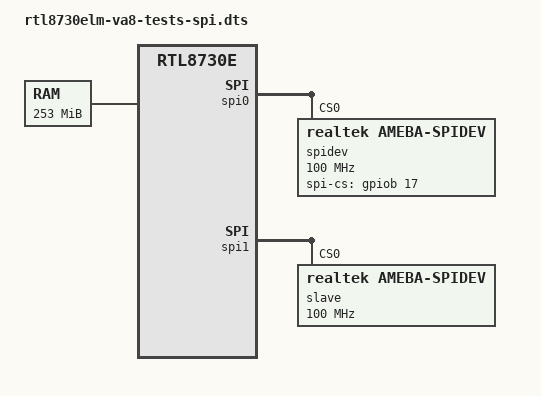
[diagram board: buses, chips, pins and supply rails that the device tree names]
// SPDX-License-Identifier: GPL-2.0-only
/*
* Realtek DTS for SPI test
*
* Copyright (C) 2023, Realtek Corporation. All rights reserved.
*/

/dts-v1/;

#include "rtl8730e.dtsi"
#include "rtl8730e-spi-nand-256m.dtsi"

/ {
	memory {
		device_type = "memory";
		// DRAM base address should be 1MB-aligned.
		reg = <0x60300000 0xFD00000>;  // 256MB -- exclude 3MB secure memory
	};
	reserved-memory {
		#address-cells = <1>;
		#size-cells = <1>;
		ranges;
		// reserver 32M mem for drm graphics , from 0x61000000 to 0x63000000
		mem_drm_reserved: drm_buffer@0x61000000 {
			compatible = "shared-dma-pool";
			no-map;
			reg = <0x61000000 0x2000000>;
			//linux,cma-default;
		};
	};
};

// Configure peripherals.
&spi0 {
	pinctrl-names = "default";
	pinctrl-0 = <&spi0_pins>;
	rtk,spi-slave-mode = <0>; // SPI master
	status = "okay";

	spidev@0 {
		compatible = "realtek,ameba-spidev";
		reg = <0>;
		//only master mode set SPI_CS to GPIO, so spi0_pins only set SPI0_CLK, SPI0_MOSI and SPI0_MISO.
		rtk,spi-cs-gpios = <&gpiob 17 0>;
		spi-max-frequency = <100000000>;
		status = "okay";
	};
};

&spi1 {
	pinctrl-names = "default";
	pinctrl-0 = <&spi1_pins>;
	rtk,spi-slave-mode = <1>; // SPI slave
	status = "okay";

	slave@1 {
        compatible = "realtek,ameba-spidev";
        reg = <0>;
        spi-max-frequency = <100000000>;
		status = "okay";
    };
};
